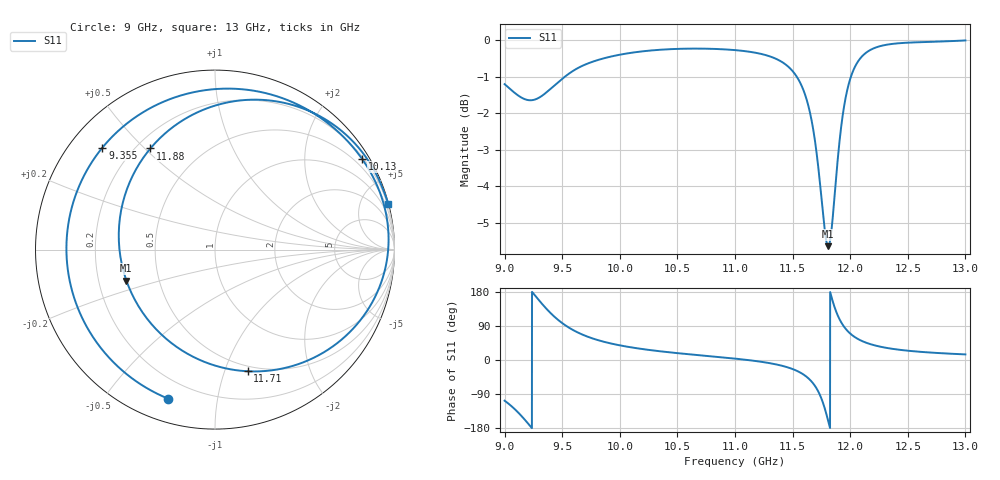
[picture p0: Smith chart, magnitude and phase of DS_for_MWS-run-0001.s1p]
! TOUCHSTONE file generated by CST DESIGN STUDIO
! Date and time: Tue Feb  4 14:27:39 2025
! Project name: C:\Work\MatlabApps\UnitCellOptimizationMatlab\CST\unitcell.cst
! Tree item: Tasks\Sweep1\SPara1\S-Parameters
! Header version: 2024
! Port assignment regex: !\s*Touchstone port\s*([0-9]+)\s*=\s*(CST MWS port|CST DES external port|CST DES block port)\s*(.+)\s* \(\"(.*)\"\)(\s*mode\s*([0-9]+))?.*
! Touchstone port assignment:
! Touchstone port 1 = CST DES external port 1 ("")
# GHz S MA R 50
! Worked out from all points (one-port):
!   4001 points, 9 GHz to 13 GHz, reference 50 ohm
!   lowest |S11| = -5.6 dB at 11.81 GHz (marker M1), VSWR 3.19, Z = 16.1 - j7.62 ohm
!   |S11| at or under -10 dB: nowhere
!   S11 on the Smith chart (normalised r, x): 9 GHz: 0.11, -0.73; 9.355 GHz: 0.10, +0.38; 10.13 GHz: 0.26, +3.52; 11.71 GHz: 0.45, -1.20; 11.88 GHz: 0.26, +0.52; 13 GHz: 0.03, +7.72
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9  0.8706 -107.4
9.102  0.8436 -133.8
9.206  0.828 -168.5
9.277  0.8311 165.4
9.355  0.8464 137.8
9.425  0.8652 116.3
9.5  0.8854 97.4
9.607  0.9104 77.0
9.717  0.9284 61.9
10  0.9552 38.7
10.135  0.9627 31.6
10.5  0.9728 18.1
11  0.9691 3.7
11.295  0.951 -8.0
11.5  0.9072 -23.9
11.619  0.8323 -43.7
11.665  0.7766 -56.9
11.708  0.7019 -75.0
11.76  0.5871 -109.8
11.809  0.523 -160.8
11.845  0.5648 158.3
11.885  0.6687 122.5
11.935  0.7895 93.0
12  0.885 69.8
12.078  0.9401 53.7
12.176  0.9698 41.8
12.5  0.992 24.5
13  0.9989 14.8
